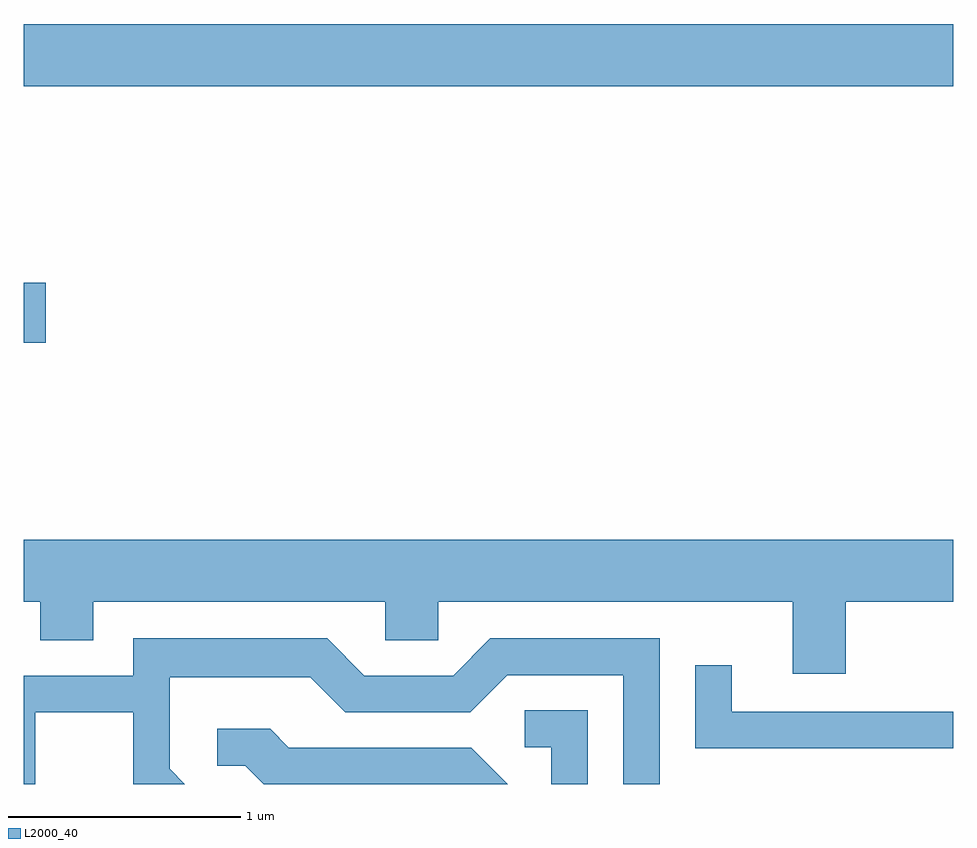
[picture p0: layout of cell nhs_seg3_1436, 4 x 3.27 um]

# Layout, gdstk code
import gdstk
lib = gdstk.Library(unit=1e-6, precision=1e-09)
def R(c, l, rs):  # rectangles x0, y0, x1, y1
    for r in rs: c.add(gdstk.rectangle(r[:2], r[2:], *l))
def P(c, l, *ps):  # polygons
    for p in ps: c.add(gdstk.Polygon(p, *l))
L2000_40 = (2000, 40)

nhs_seg3_1436 = lib.new_cell('nhs_seg3_1436')
R(nhs_seg3_1436, L2000_40, [(227.611,1133.791,227.704,1134.049), (227.611,1134.896,231.611,1135.164)])
P(nhs_seg3_1436, L2000_40, [(231.149,1132.676),(231.611,1132.676),(231.611,1132.944),(227.611,1132.944),(227.611,1132.676),(227.681,1132.676),(227.681,1132.511),(227.909,1132.511),(227.909,1132.676),(229.166,1132.676),(229.166,1132.511),(229.394,1132.511),(229.394,1132.676),(230.921,1132.676),(230.921,1132.366),(231.149,1132.366)],
  [(227.659,1132.201),(228.081,1132.201),(228.081,1131.892),(228.304,1131.892),(228.239,1131.957),(228.239,1132.351),(228.844,1132.351),(228.994,1132.201),(229.532,1132.201),(229.692,1132.361),(230.191,1132.361),(230.191,1131.892),(230.349,1131.892),(230.349,1132.519),(229.619,1132.519),(229.459,1132.359),(229.077,1132.359),(228.917,1132.519),(228.081,1132.519),(228.081,1132.359),(227.611,1132.359),(227.611,1131.892),(227.659,1131.892)],
  [(231.611,1132.204),(230.659,1132.204),(230.659,1132.403),(230.501,1132.403),(230.501,1132.046),(231.611,1132.046)],
  [(230.039,1132.209),(229.768,1132.209),(229.768,1132.051),(229.881,1132.051),(229.881,1131.892),(230.039,1131.892)],
  [(229.537,1132.049),(228.752,1132.049),(228.672,1132.129),(228.443,1132.129),(228.443,1131.971),(228.564,1131.971),(228.643,1131.892),(229.694,1131.892)])

lib.write_gds('nhs_seg3_1436.gds')
